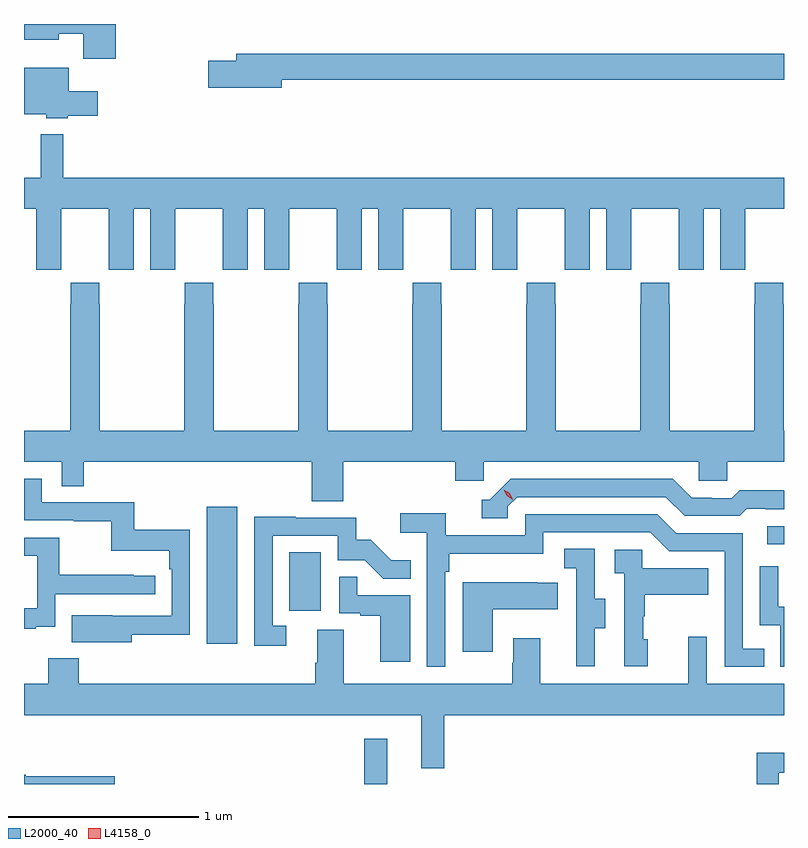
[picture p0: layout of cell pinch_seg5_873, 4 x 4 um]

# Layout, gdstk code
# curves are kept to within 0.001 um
import gdstk
lib = gdstk.Library(unit=1e-6, precision=1e-09)
def R(c, l, rs):  # rectangles x0, y0, x1, y1
    for r in rs: c.add(gdstk.rectangle(r[:2], r[2:], *l))
def P(c, l, *ps):  # polygons
    for p in ps: c.add(gdstk.Polygon(p, *l))
L2000_40 = (2000, 40)
L4158_0 = (4158, 0)

pinch_seg5_873 = lib.new_cell('pinch_seg5_873')
R(pinch_seg5_873, L2000_40, [(866.124,885.701,866.245,885.94), (865.295,886.44,865.456,887.161), (865.73,886.614,865.894,886.921), (868.245,886.962,868.333,887.058)])
P(pinch_seg5_873, L2000_40, [(864.815,889.701),(864.333,889.701),(864.333,889.619),(864.517,889.619),(864.517,889.649),(864.644,889.649),(864.644,889.518),(864.815,889.518)],
  [(865.69,889.408),(868.333,889.408),(868.333,889.544),(865.451,889.544),(865.451,889.508),(865.302,889.508),(865.302,889.366),(865.69,889.366)],
  [(864.564,889.219),(864.721,889.219),(864.721,889.348),(864.568,889.348),(864.568,889.471),(864.333,889.471),(864.333,889.226),(864.45,889.226),(864.45,889.205),(864.564,889.205)],
  [(864.539,889.12),(864.422,889.12),(864.422,888.892),(864.333,888.892),(864.333,888.728),(864.398,888.728),(864.398,888.408),(864.528,888.408),(864.528,888.52),(864.529,888.52),(864.529,888.728),(864.779,888.728),(864.779,888.52),(864.78,888.52),(864.78,888.408),(864.91,888.408),(864.91,888.728),(864.998,888.728),(864.998,888.408),(865.128,888.408),(865.128,888.52),(865.129,888.52),(865.129,888.728),(865.379,888.728),(865.379,888.52),(865.38,888.52),(865.38,888.408),(865.51,888.408),(865.51,888.728),(865.598,888.728),(865.598,888.408),(865.728,888.408),(865.728,888.52),(865.729,888.52),(865.729,888.728),(865.979,888.728),(865.979,888.52),(865.98,888.52),(865.98,888.408),(866.11,888.408),(866.11,888.728),(866.198,888.728),(866.198,888.408),(866.328,888.408),(866.328,888.52),(866.329,888.52),(866.329,888.728),(866.579,888.728),(866.579,888.52),(866.58,888.52),(866.58,888.408),(866.71,888.408),(866.71,888.728),(866.798,888.728),(866.798,888.408),(866.928,888.408),(866.928,888.52),(866.929,888.52),(866.929,888.728),(867.179,888.728),(867.179,888.52),(867.18,888.52),(867.18,888.408),(867.31,888.408),(867.31,888.728),(867.398,888.728),(867.398,888.408),(867.528,888.408),(867.528,888.52),(867.529,888.52),(867.529,888.728),(867.779,888.728),(867.779,888.52),(867.78,888.52),(867.78,888.408),(867.91,888.408),(867.91,888.728),(867.998,888.728),(867.998,888.408),(868.128,888.408),(868.128,888.52),(868.129,888.52),(868.129,888.728),(868.333,888.728),(868.333,888.892),(864.539,888.892)],
  [(866.012,887.396),(866.603,887.396),(866.603,887.298),(866.754,887.298),(866.754,887.396),(867.885,887.396),(867.885,887.298),(868.035,887.298),(868.035,887.396),(868.333,887.396),(868.333,887.56),(868.332,887.56),(868.332,888.227),(868.329,888.227),(868.329,888.34),(868.179,888.34),(868.179,888.227),(868.177,888.227),(868.177,887.56),(867.732,887.56),(867.732,888.227),(867.729,888.227),(867.729,888.34),(867.579,888.34),(867.579,888.227),(867.577,888.227),(867.577,887.56),(867.132,887.56),(867.132,888.227),(867.129,888.227),(867.129,888.34),(866.979,888.34),(866.979,888.227),(866.977,888.227),(866.977,887.56),(866.532,887.56),(866.532,888.227),(866.529,888.227),(866.529,888.34),(866.379,888.34),(866.379,888.227),(866.377,888.227),(866.377,887.56),(865.932,887.56),(865.932,888.227),(865.929,888.227),(865.929,888.34),(865.779,888.34),(865.779,888.227),(865.777,888.227),(865.777,887.56),(865.332,887.56),(865.332,888.227),(865.329,888.227),(865.329,888.34),(865.179,888.34),(865.179,888.227),(865.177,888.227),(865.177,887.56),(864.732,887.56),(864.732,888.227),(864.729,888.227),(864.729,888.34),(864.579,888.34),(864.579,888.227),(864.577,888.227),(864.577,887.56),(864.333,887.56),(864.333,887.396),(864.531,887.396),(864.531,887.269),(864.647,887.269),(864.647,887.396),(865.847,887.396),(865.847,887.188),(866.012,887.188)],
  [(866.88,887.163),(866.928,887.211),(867.711,887.211),(867.81,887.112),(868.099,887.112),(868.138,887.151),(868.237,887.151),(868.237,887.148),(868.333,887.148),(868.333,887.245),(868.332,887.248),(868.099,887.248),(868.057,887.205),(867.954,887.205),(867.954,887.208),(867.847,887.208),(867.748,887.307),(866.895,887.307),(866.784,887.196),(866.741,887.196),(866.741,887.1),(866.88,887.1)],
  [(864.901,886.486),(865.206,886.486),(865.206,887.038),(864.913,887.038),(864.913,887.184),(864.426,887.184),(864.426,887.307),(864.333,887.307),(864.333,887.088),(864.595,887.088),(864.595,887.083),(864.792,887.083),(864.792,886.928),(865.097,886.928),(865.097,886.832),(865.11,886.832),(865.11,886.587),(864.797,886.587),(864.797,886.588),(864.583,886.588),(864.583,886.448),(864.901,886.448)],
  [(866.55,886.817),(866.57,886.817),(866.57,886.913),(867.066,886.913),(867.066,887.025),(867.63,887.025),(867.729,886.926),(868.02,886.926),(868.02,886.317),(868.229,886.317),(868.229,886.413),(868.116,886.413),(868.116,887.022),(867.766,887.022),(867.667,887.121),(866.97,887.121),(866.97,887.01),(866.552,887.01),(866.552,887.126),(866.313,887.126),(866.313,887.024),(866.454,887.024),(866.454,886.317),(866.55,886.317)],
  [(865.714,886.533),(865.641,886.533),(865.641,887.007),(865.983,887.007),(865.983,886.878),(866.127,886.878),(866.225,886.78),(866.369,886.78),(866.369,886.879),(866.265,886.879),(866.158,886.986),(866.082,886.986),(866.082,887.103),(865.763,887.103),(865.763,887.108),(865.545,887.108),(865.545,886.428),(865.714,886.428)],
  [(864.395,886.529),(864.498,886.529),(864.498,886.701),(865.024,886.701),(865.024,886.797),(864.911,886.797),(864.911,886.802),(864.518,886.802),(864.518,886.998),(864.333,886.998),(864.333,886.902),(864.402,886.902),(864.402,886.626),(864.333,886.626),(864.333,886.518),(864.395,886.518)],
  [(867.337,886.522),(867.391,886.522),(867.391,886.677),(867.336,886.677),(867.336,886.94),(867.177,886.94),(867.177,886.837),(867.24,886.837),(867.24,886.533),(867.239,886.533),(867.239,886.32),(867.337,886.32)],
  [(867.616,886.464),(867.591,886.464),(867.591,886.583),(867.601,886.583),(867.601,886.697),(867.935,886.697),(867.935,886.837),(867.588,886.837),(867.588,886.935),(867.441,886.935),(867.441,886.811),(867.492,886.811),(867.492,886.32),(867.616,886.32)],
  [(868.333,886.634),(868.302,886.634),(868.302,886.846),(868.206,886.846),(868.206,886.536),(868.314,886.536),(868.314,886.317),(868.333,886.317)],
  [(866.365,886.695),(866.087,886.695),(866.087,886.793),(865.992,886.793),(865.992,886.599),(866.103,886.599),(866.103,886.587),(866.207,886.587),(866.207,886.344),(866.365,886.344)],
  [(866.8,886.622),(867.143,886.622),(867.143,886.759),(867.035,886.759),(867.035,886.762),(866.642,886.762),(866.642,886.398),(866.8,886.398)],
  [(866.545,886.064),(868.333,886.064),(868.333,886.228),(867.927,886.228),(867.927,886.477),(867.83,886.477),(867.83,886.228),(867.049,886.228),(867.049,886.468),(866.909,886.468),(866.909,886.34),(866.902,886.34),(866.902,886.228),(866.017,886.228),(866.017,886.514),(865.877,886.514),(865.877,886.34),(865.865,886.34),(865.865,886.228),(864.62,886.228),(864.62,886.363),(864.46,886.363),(864.46,886.228),(864.333,886.228),(864.333,886.064),(866.423,886.064),(866.423,885.783),(866.545,885.783)],
  [(868.305,885.759),(868.333,885.759),(868.333,885.865),(868.189,885.865),(868.189,885.701),(868.305,885.701)],
  [(864.811,885.741),(864.342,885.741),(864.342,885.751),(864.333,885.751),(864.333,885.701),(864.811,885.701)])
P(pinch_seg5_873, L4158_0, [(866.905,887.198),(866.875,887.218),(866.859,887.251),(866.859,887.251),(866.859,887.251),(866.89,887.231),(866.906,887.198),(866.906,887.198)])

lib.write_gds('pinch_seg5_873.gds')
